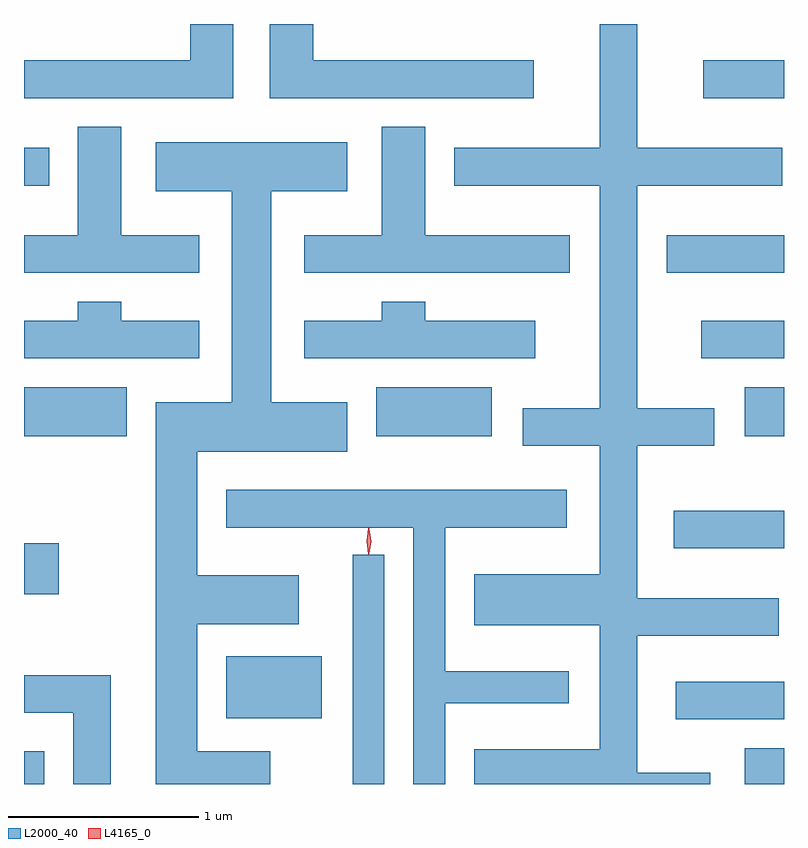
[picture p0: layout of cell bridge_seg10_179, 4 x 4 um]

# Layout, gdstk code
import gdstk
lib = gdstk.Library(unit=1e-6, precision=1e-09)
def R(c, l, rs):  # rectangles x0, y0, x1, y1
    for r in rs: c.add(gdstk.rectangle(r[:2], r[2:], *l))
def P(c, l, *ps):  # polygons
    for p in ps: c.add(gdstk.Polygon(p, *l))
L2000_40 = (2000, 40)
L4165_0 = (4165, 0)

bridge_seg10_179 = lib.new_cell('bridge_seg10_179')
R(bridge_seg10_179, L2000_40, [(1870.262,2140.966,1870.369,2141.139), (1871.991,2140.966,1872.159,2142.173), (1874.056,2140.966,1874.262,2141.154), (1873.691,2141.306,1874.262,2141.504), (1871.326,2141.311,1871.829,2141.639), (1870.262,2141.966,1870.444,2142.234), (1873.681,2142.206,1874.262,2142.404), (1870.262,2142.796,1870.804,2143.054), (1872.116,2142.796,1872.724,2143.054), (1874.056,2142.796,1874.262,2143.054), (1873.826,2143.206,1874.262,2143.404), (1873.646,2143.656,1874.262,2143.854), (1870.262,2144.116,1870.394,2144.314), (1873.836,2144.576,1874.262,2144.774)])
P(bridge_seg10_179, L2000_40, [(1873.874,2141.024),(1873.489,2141.024),(1873.489,2141.746),(1874.234,2141.746),(1874.234,2141.944),(1873.489,2141.944),(1873.489,2142.746),(1873.894,2142.746),(1873.894,2142.944),(1873.489,2142.944),(1873.489,2144.116),(1874.254,2144.116),(1874.254,2144.314),(1873.489,2144.314),(1873.489,2144.966),(1873.291,2144.966),(1873.291,2144.314),(1872.526,2144.314),(1872.526,2144.116),(1873.291,2144.116),(1873.291,2142.944),(1872.886,2142.944),(1872.886,2142.746),(1873.291,2142.746),(1873.291,2142.069),(1872.631,2142.069),(1872.631,2141.801),(1873.291,2141.801),(1873.291,2141.149),(1872.631,2141.149),(1872.631,2140.966),(1873.874,2140.966)],
  [(1871.364,2144.966),(1871.136,2144.966),(1871.136,2144.774),(1870.262,2144.774),(1870.262,2144.576),(1871.364,2144.576)],
  [(1872.944,2144.774),(1871.784,2144.774),(1871.784,2144.966),(1871.556,2144.966),(1871.556,2144.576),(1872.944,2144.576)],
  [(1873.134,2143.854),(1872.374,2143.854),(1872.374,2144.424),(1872.146,2144.424),(1872.146,2143.854),(1871.736,2143.854),(1871.736,2143.656),(1873.134,2143.656)],
  [(1871.184,2143.854),(1870.774,2143.854),(1870.774,2144.424),(1870.546,2144.424),(1870.546,2143.854),(1870.262,2143.854),(1870.262,2143.656),(1871.184,2143.656)],
  [(1871.559,2141.139),(1871.174,2141.139),(1871.174,2141.806),(1871.709,2141.806),(1871.709,2142.064),(1871.174,2142.064),(1871.174,2142.716),(1871.964,2142.716),(1871.964,2142.974),(1871.564,2142.974),(1871.564,2144.086),(1871.964,2144.086),(1871.964,2144.344),(1870.956,2144.344),(1870.956,2144.086),(1871.356,2144.086),(1871.356,2142.974),(1870.956,2142.974),(1870.956,2140.966),(1871.559,2140.966)],
  [(1872.954,2143.404),(1872.374,2143.404),(1872.374,2143.504),(1872.146,2143.504),(1872.146,2143.404),(1871.736,2143.404),(1871.736,2143.206),(1872.954,2143.206)],
  [(1871.184,2143.404),(1870.774,2143.404),(1870.774,2143.504),(1870.546,2143.504),(1870.546,2143.404),(1870.262,2143.404),(1870.262,2143.206),(1871.184,2143.206)],
  [(1872.479,2141.391),(1873.128,2141.391),(1873.128,2141.559),(1872.479,2141.559),(1872.479,2142.316),(1873.119,2142.316),(1873.119,2142.514),(1871.326,2142.514),(1871.326,2142.316),(1872.311,2142.316),(1872.311,2140.966),(1872.479,2140.966)],
  [(1870.719,2141.539),(1870.262,2141.539),(1870.262,2141.341),(1870.521,2141.341),(1870.521,2140.966),(1870.719,2140.966)])
P(bridge_seg10_179, L4165_0, [(1872.075,2142.174),(1872.074,2142.175),(1872.065,2142.244),(1872.074,2142.313),(1872.075,2142.314),(1872.076,2142.313),(1872.085,2142.244),(1872.076,2142.175)],
  [(1872.078,2142.178),(1872.069,2142.244),(1872.079,2142.31),(1872.079,2142.311),(1872.08,2142.31),(1872.089,2142.244),(1872.079,2142.178),(1872.079,2142.178)])

lib.write_gds('bridge_seg10_179.gds')
